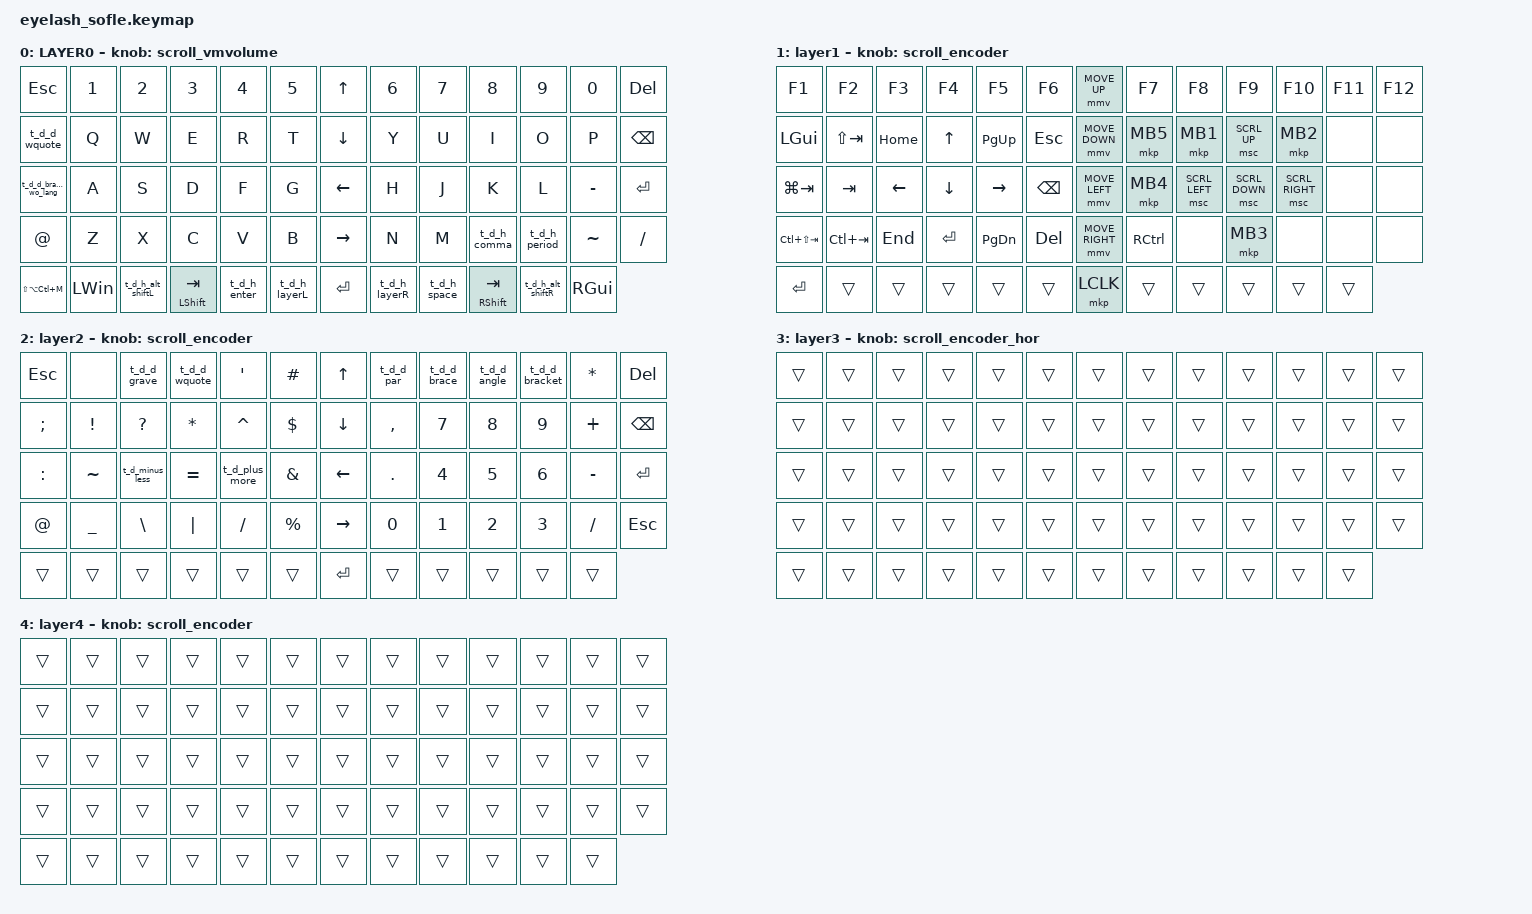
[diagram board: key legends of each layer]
#define ZMK_POINTING_DEFAULT_MOVE_VAL 1200  // 600
#define ZMK_POINTING_DEFAULT_SCRL_VAL 25   // 10

#include <input/processors.dtsi>
#include <zephyr/dt-bindings/input/input-event-codes.h>
#include <behaviors.dtsi>
#include <dt-bindings/zmk/keys.h>
#include <dt-bindings/zmk/pointing.h>

&mmv_input_listener { input-processors = <&zip_xy_scaler 2 3>; };

&msc_input_listener { input-processors = <&zip_scroll_scaler 2 3>; };

&msc {
    acceleration-exponent = <0>;      // 0    
    time-to-max-speed-ms = <0>;       // 300
    delay-ms = <0>;                   // 0
    trigger-period-ms = <10>;
};

&mmv {
    time-to-max-speed-ms = <3000>;
    acceleration-exponent = <1>;
    trigger-period-ms = <16>;
};

&soft_off { hold-time-ms = <2000>; };

/ {
    scroll_encoder: scroll_encoder {
        compatible = "zmk,behavior-sensor-rotate";
        #sensor-binding-cells = <0>;
        bindings = <&msc SCRL_DOWN>, <&msc SCRL_UP>;

        tap-ms = <50>;
        label = "scroll_encoder";
    };

    scroll_encoder_hor: scroll_encoder_hor {
        compatible = "zmk,behavior-sensor-rotate";
        label = "SCROLL_ENCODER_HOR";
        #sensor-binding-cells = <0>;
        bindings = <&msc SCRL_RIGHT>, <&msc SCRL_LEFT>;

        tap-ms = <50>;
    };

    t_d_h_enter: t_d_h_enter {
        compatible = "zmk,behavior-tap-dance";
        label = "T_D_H_ENTER";
        #binding-cells = <0>;
        bindings = <&h_t_enter LEFT_CONTROL RETURN>, <&kp BACKSPACE>;

        tapping-term-ms = <180>;
    };

    t_d_h_space: t_d_h_space {
        compatible = "zmk,behavior-tap-dance";
        label = "T_D_H_SPACE";
        #binding-cells = <0>;
        bindings =
            <&h_t_space RIGHT_CONTROL SPACE>,
            <&mt RCTRL BACKSPACE>,
            <&none>;

        tapping-term-ms = <180>;
    };

    t_d_h_layerL: t_d_h_layerL {
        compatible = "zmk,behavior-tap-dance";
        label = "T_D_H_LAYERL";
        #binding-cells = <0>;
        bindings = <&h_t_layerL 1 LANGUAGE_2>, <&tog 1>;

        tapping-term-ms = <200>;
    };

    t_d_h_layerR: t_d_h_layerR {
        compatible = "zmk,behavior-tap-dance";
        label = "T_D_H_LAYERR";
        #binding-cells = <0>;
        bindings = <&h_t_layerR 2 LANGUAGE_1>, <&tog 2>;

        tapping-term-ms = <200>;
    };

    t_d_h_alt_shiftL: t_d_h_alt_shiftL {
        compatible = "zmk,behavior-tap-dance";
        label = "T_D_H_ALT_SHIFTL";
        #binding-cells = <0>;
        bindings = <&kp LEFT_ALT>, <&kp LEFT_SHIFT>;
    };

    t_d_h_alt_shiftR: t_d_h_alt_shiftR {
        compatible = "zmk,behavior-tap-dance";
        label = "T_D_H_ALT_SHIFTR";
        #binding-cells = <0>;
        bindings = <&kp RA(RIGHT_ALT)>, <&kp RIGHT_SHIFT>;
    };

    t_d_exc_quest: t_d_exc_quest {
        compatible = "zmk,behavior-tap-dance";
        label = "T_D_EXC_QUEST";
        #binding-cells = <0>;
        bindings = <&kp EXCLAMATION>, <&kp QUESTION>;
    };

    t_d_d_par: t_d_d_par {
        compatible = "zmk,behavior-tap-dance";
        label = "T_D_D_PAR";
        #binding-cells = <0>;
        bindings =
            <&mt RIGHT_PARENTHESIS LEFT_PARENTHESIS>,
            <&macro_insert_par>;
    };

    t_d_d_bracket: t_d_d_bracket {
        compatible = "zmk,behavior-tap-dance";
        label = "T_D_D_BRACKET";
        #binding-cells = <0>;
        bindings = <&mt RIGHT_BRACKET LEFT_BRACKET>, <&macro_insert_bracket>;
    };

    t_d_d_brace: t_d_d_brace {
        compatible = "zmk,behavior-tap-dance";
        label = "T_D_D_BRACE";
        #binding-cells = <0>;
        bindings = <&mt RIGHT_BRACE LEFT_BRACE>, <&macro_insert_brace>;
    };

    t_d_d_angle: t_d_d_angle {
        compatible = "zmk,behavior-tap-dance";
        label = "T_D_D_ANGLE";
        #binding-cells = <0>;
        bindings = <&mt GREATER_THAN LESS_THAN>, <&t_d_d_angle>;
    };

    t_d_d_wquote: t_d_d_wquote {
        compatible = "zmk,behavior-tap-dance";
        label = "T_D_D_WQUOTE";
        #binding-cells = <0>;
        bindings = <&mt SQT DOUBLE_QUOTES>, <&macro_insert_wquote>;
    };

    t_d_d_grave: t_d_d_grave {
        compatible = "zmk,behavior-tap-dance";
        label = "T_D_D_GRAVE";
        #binding-cells = <0>;
        bindings = <&kp GRAVE>, <&macro_insert_grave>;
    };

    t_d_minus_less: t_d_minus_less {
        compatible = "zmk,behavior-tap-dance";
        label = "T_D_MINUS_LESS";
        #binding-cells = <0>;
        bindings = <&kp MINUS>, <&kp LESS_THAN>;
    };

    t_d_plus_more: t_d_plus_more {
        compatible = "zmk,behavior-tap-dance";
        label = "T_D_PLUS_MORE";
        #binding-cells = <0>;
        bindings = <&kp PLUS>, <&kp GREATER_THAN>;
    };

    t_d_d_brancket_wo_lang: t_d_d_brancket_wo_lang {
        compatible = "zmk,behavior-tap-dance";
        label = "T_D_D_BRANCKET_WO_LANG";
        #binding-cells = <0>;
        bindings =
            <&mt RIGHT_BRACKET LEFT_BRACKET>,
            <&macro_insert_brancket_wo_lang>;
    };

    h_t_layerL: h_t_layerL {
        compatible = "zmk,behavior-hold-tap";
        label = "H_T_LAYERL";
        bindings = <&mo>, <&kp>;

        #binding-cells = <2>;
        tapping-term-ms = <200>;
        quick-tap-ms = <200>;
        require-prior-idle-ms = <20>;
        hold-while-undecided;
    };

    h_t_layerR: h_t_layerR {
        compatible = "zmk,behavior-hold-tap";
        label = "H_T_LAYERR";
        bindings = <&mo>, <&kp>;

        #binding-cells = <2>;
        tapping-term-ms = <200>;
        quick-tap-ms = <200>;
        require-prior-idle-ms = <20>;
        hold-while-undecided;
    };

    h_t_enter: h_t_enter {
        compatible = "zmk,behavior-hold-tap";
        label = "H_T_ENTER";
        bindings = <&kp>, <&kp>;

        #binding-cells = <2>;
        tapping-term-ms = <200>;
        quick-tap-ms = <200>;
        require-prior-idle-ms = <150>;
        hold-while-undecided;
        flavor = "balanced";
    };

    h_t_space: h_t_space {
        compatible = "zmk,behavior-hold-tap";
        label = "H_T_SPACE";
        bindings = <&kp>, <&kp>;

        #binding-cells = <2>;
        tapping-term-ms = <200>;
        quick-tap-ms = <200>;
        require-prior-idle-ms = <125>;
        hold-while-undecided;
        flavor = "balanced";
    };

    t_d_h_colon: t_d_h_colon {
        compatible = "zmk,behavior-tap-dance";
        label = "T_D_H_COLON";
        #binding-cells = <0>;
        bindings = <&mt COLON SEMI>, <&kp COLON>;
    };

    scroll_vmvolume: scroll_vmvolume {
        compatible = "zmk,behavior-sensor-rotate";
        #sensor-binding-cells = <0>;
        bindings = <&kp LS(LA(LC(J)))>, <&kp LS(LA(LC(K)))>;

        tap-ms = <50>;
        label = "SCROLL_VMVOLUME";
    };

    t_d_h_comma: t_d_h_comma {
        compatible = "zmk,behavior-tap-dance";
        label = "T_D_H_COMMA";
        #binding-cells = <0>;
        bindings = <&mt SEMI COMMA>, <&kp SEMI>;

        tapping-term-ms = <180>;
    };

    t_d_h_period: t_d_h_period {
        compatible = "zmk,behavior-tap-dance";
        label = "T_D_H_PERIOD";
        #binding-cells = <0>;
        bindings = <&mt COLON PERIOD>, <&kp COLON>;

        tapping-term-ms = <180>;
    };

    behaviors {
    };

    combos {
        compatible = "zmk,combos";

        mouse_move_l_200 {
            bindings = <&mmv MOVE_X(-200)>;
            key-positions = <32 37>;
            layers = <1>;
        };

        mouse_move_R_200 {
            bindings = <&mmv MOVE_X(200)>;
            key-positions = <45 37>;
            layers = <1>;
        };

        mouse_move_T_200 {
            bindings = <&mmv MOVE_Y(200)>;
            key-positions = <6 37>;
            layers = <1>;
        };

        mouse_move_D_200 {
            bindings = <&mmv MOVE_Y(-200)>;
            key-positions = <19 37>;
            layers = <1>;
        };

        mouse_move_D_100 {
            bindings = <&mmv MOVE_Y(-100)>;
            key-positions = <19 50>;
            layers = <1>;
        };

        mouse_move_T_100 {
            bindings = <&mmv MOVE_Y(100)>;
            key-positions = <6 50>;
            layers = <1>;
        };

        mouse_move_R_100 {
            bindings = <&mmv MOVE_X(100)>;
            key-positions = <45 50>;
            layers = <1>;
        };

        mouse_move_L_100 {
            bindings = <&mmv MOVE_X(-100)>;
            key-positions = <32 50>;
            layers = <1>;
        };

        combo_par {
            bindings = <&macro_insert_par>;
            key-positions = <7 8>;
            layers = <2>;
        };

        combo_brace {
            bindings = <&macro_insert_brace>;
            key-positions = <8 9>;
            layers = <2>;
        };

        combo_bracket {
            bindings = <&macro_insert_bracket>;
            key-positions = <9 10>;
            layers = <2>;
        };

        combo_angle {
            bindings = <&macro_insert_angle>;
            key-positions = <10 11>;
            layers = <2>;
        };

        combo_ctrl_alt {
            bindings = <&kp LC(RIGHT_ALT)>;
            key-positions = <56 57>;
        };

        combo_ctrl_alt_R {
            bindings = <&kp RC(RIGHT_ALT)>;
            key-positions = <59 60>;
        };

        combo_ctrl_b_win {
            bindings = <&kp LEFT_WIN>;
            key-positions = <56 44>;
        };

        combo_ctrl_n_win {
            bindings = <&kp RIGHT_WIN>;
            key-positions = <46 60>;
        };

        layer3 {
            bindings = <&mo 3>;
            key-positions = <57 44>;
        };
    };

    macros {
        macro_insert_wquote: macro_wq {
            compatible = "zmk,behavior-macro";
            #binding-cells = <0>;
            bindings = <&kp LANGUAGE_2 &kp DOUBLE_QUOTES &kp DOUBLE_QUOTES &kp LEFT_ARROW>;
            label = "MACRO_WQ";
        };

        macro_insert_bracket: macro_insert_bracket {
            compatible = "zmk,behavior-macro";
            #binding-cells = <0>;
            bindings = <&kp LANGUAGE_2 &kp LEFT_BRACKET &kp RIGHT_BRACKET &kp LEFT_ARROW>;
            label = "MACRO_INSERT_BRACKET";
        };

        macro_insert_brace: macro_insert_brace {
            compatible = "zmk,behavior-macro";
            #binding-cells = <0>;
            bindings = <&kp LANGUAGE_2 &kp LEFT_BRACE &kp RIGHT_BRACE &kp LEFT_ARROW>;
            label = "MACRO_INSERT_BRACE";
        };

        macro_insert_par: macro_insert_parent {
            compatible = "zmk,behavior-macro";
            #binding-cells = <0>;
            bindings = <&kp LANGUAGE_2 &kp LEFT_PARENTHESIS &kp RIGHT_PARENTHESIS &kp LEFT_ARROW>;
            label = "MACRO_INSERT_PARENT";
        };

        macro_insert_angle: macro_insert_angle {
            compatible = "zmk,behavior-macro";
            #binding-cells = <0>;
            bindings = <&kp LANGUAGE_2 &kp LESS_THAN &kp GREATER_THAN &kp LEFT_ARROW>;
            label = "MACRO_INSERT_ANGLE";
        };

        macro_insert_grave: macro_insert_grave {
            compatible = "zmk,behavior-macro";
            #binding-cells = <0>;
            bindings = <&kp LANGUAGE_2 &kp GRAVE &kp GRAVE &kp LEFT_ARROW>;
            label = "MACRO_INSERT_GRAVE";
        };

        macro_insert_brancket_wo_lang: macro_insert_brancket_wo_lang {
            compatible = "zmk,behavior-macro";
            #binding-cells = <0>;
            bindings = <&kp LEFT_BRACKET &kp RIGHT_BRACKET &kp LEFT_ARROW>;
            label = "MACRO_INSERT_BRANCKET_WO_LANG";
        };

        scroll_vmmute: new_macro {
            compatible = "zmk,behavior-macro";
            #binding-cells = <0>;
            bindings = <&kp LS(LA(LC(M)))>;
            label = "NEW_MACRO";
        };
    };

    keymap {
        compatible = "zmk,keymap";

        layer0 {
            bindings = <
&kp ESCAPE               &kp N1        &kp N2             &kp N3              &kp N4        &kp N5           &kp UP_ARROW     &kp N6         &kp N7        &kp N8               &kp N9             &kp N0         &kp DELETE
&t_d_d_wquote            &kp Q         &kp W              &kp E               &kp R         &kp T            &kp DOWN_ARROW   &kp Y          &kp U         &kp I                &kp O              &kp P          &kp BACKSPACE
&t_d_d_brancket_wo_lang  &kp A         &kp S              &kp D               &kp F         &kp G            &kp LEFT_ARROW   &kp H          &kp J         &kp K                &kp L              &kp MINUS      &kp ENTER
&kp AT                   &kp Z         &kp X              &kp C               &kp V         &kp B            &kp RIGHT_ARROW  &kp N          &kp M         &t_d_h_comma         &t_d_h_period      &kp TILDE      &kp SLASH
&kp LS(LA(LC(M)))        &kp LEFT_WIN  &t_d_h_alt_shiftL  &mt LEFT_SHIFT TAB  &t_d_h_enter  &t_d_h_layerL    &kp ENTER        &t_d_h_layerR  &t_d_h_space  &mt RIGHT_SHIFT TAB  &t_d_h_alt_shiftR  &kp RIGHT_GUI
            >;

            sensor-bindings = <&scroll_vmvolume>;
            display-name = "LAYER0";
        };

        layer_1 {
            bindings = <
&kp F1           &kp F2       &kp F3          &kp F4          &kp F5           &kp F6           &mmv MOVE_UP     &kp F7             &kp F8          &kp F9          &kp F10          &kp F11  &kp F12
&kp LEFT_GUI     &kp LS(TAB)  &kp HOME        &kp UP_ARROW    &kp PAGE_UP      &kp ESCAPE       &mmv MOVE_DOWN   &mkp MB5           &mkp MB1        &msc SCRL_UP    &mkp MB2         &none    &none
&kp LG(TAB)      &kp TAB      &kp LEFT_ARROW  &kp DOWN_ARROW  &kp RIGHT_ARROW  &kp BACKSPACE    &mmv MOVE_LEFT   &mkp MB4           &msc SCRL_LEFT  &msc SCRL_DOWN  &msc SCRL_RIGHT  &none    &none
&kp LC(LS(TAB))  &kp LC(TAB)  &kp END         &kp RETURN      &kp PAGE_DOWN    &kp DELETE       &mmv MOVE_RIGHT  &kp RIGHT_CONTROL  &none           &mkp MB3        &none            &none    &none
&kp RET          &trans       &trans          &trans          &trans           &trans           &mkp LCLK        &trans             &trans          &trans          &trans           &trans
            >;

            display-name = "layer1";
            sensor-bindings = <&scroll_encoder>;
        };

        layer_2 {
            bindings = <
&kp ESC    &none            &t_d_d_grave     &t_d_d_wquote  &kp SQT         &kp HASH         &kp UP_ARROW     &t_d_d_par    &t_d_d_brace  &t_d_d_angle  &t_d_d_bracket  &kp ASTRK  &kp DELETE
&kp SEMI   &kp EXCLAMATION  &kp QUESTION     &kp STAR       &kp CARET       &kp DOLLAR       &kp DOWN_ARROW   &kp COMMA     &kp N7        &kp N8        &kp N9          &kp PLUS   &kp BACKSPACE
&kp COLON  &kp TILDE        &t_d_minus_less  &kp EQUAL      &t_d_plus_more  &kp AMPERSAND    &kp LEFT_ARROW   &kp PERIOD    &kp N4        &kp N5        &kp N6          &kp MINUS  &kp RETURN
&kp AT     &kp UNDER        &kp BACKSLASH    &kp PIPE       &kp SLASH       &kp PERCENT      &kp RIGHT_ARROW  &kp NUMBER_0  &kp N1        &kp N2        &kp N3          &kp SLASH  &kp ESCAPE
&trans     &trans           &trans           &trans         &trans          &trans           &kp ENTER        &trans        &trans        &trans        &trans          &trans
            >;

            display-name = "layer2";
            sensor-bindings = <&scroll_encoder>;
        };

        layer_3 {
            bindings = <
&trans  &trans  &trans  &trans  &trans  &trans    &trans  &trans  &trans  &trans  &trans  &trans  &trans
&trans  &trans  &trans  &trans  &trans  &trans    &trans  &trans  &trans  &trans  &trans  &trans  &trans
&trans  &trans  &trans  &trans  &trans  &trans    &trans  &trans  &trans  &trans  &trans  &trans  &trans
&trans  &trans  &trans  &trans  &trans  &trans    &trans  &trans  &trans  &trans  &trans  &trans  &trans
&trans  &trans  &trans  &trans  &trans  &trans    &trans  &trans  &trans  &trans  &trans  &trans
            >;

            display-name = "layer3";
            sensor-bindings = <&scroll_encoder_hor>;
        };

        layer_4 {
            bindings = <
&trans  &trans  &trans  &trans  &trans  &trans    &trans  &trans  &trans  &trans  &trans  &trans  &trans
&trans  &trans  &trans  &trans  &trans  &trans    &trans  &trans  &trans  &trans  &trans  &trans  &trans
&trans  &trans  &trans  &trans  &trans  &trans    &trans  &trans  &trans  &trans  &trans  &trans  &trans
&trans  &trans  &trans  &trans  &trans  &trans    &trans  &trans  &trans  &trans  &trans  &trans  &trans
&trans  &trans  &trans  &trans  &trans  &trans    &trans  &trans  &trans  &trans  &trans  &trans
            >;

            display-name = "layer4";
            sensor-bindings = <&scroll_encoder>;
        };
    };
};
